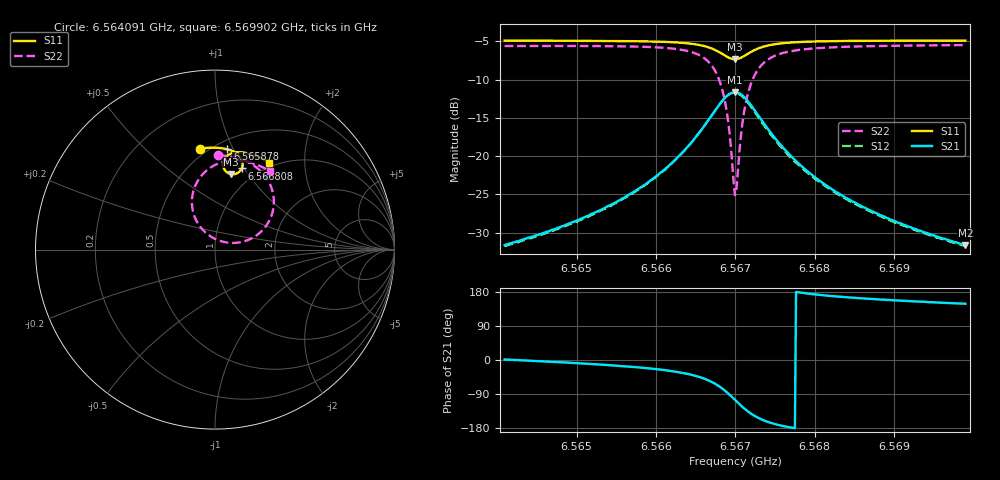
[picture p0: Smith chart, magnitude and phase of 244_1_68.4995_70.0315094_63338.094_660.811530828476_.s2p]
#  HZ  S  RI  R  50.00
! Rohde & Schwarz Vector Network Analyzer
! Rohde-Schwarz,ZNB20-2Port,1311601062101988,3.16
! Created: UTC 3/20/2024, 4:59:33 PM
! freq[Hz]  re:S11  im:S11  re:S21  im:S21  re:S12  im:S12  re:S22  im:S22
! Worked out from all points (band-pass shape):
!   401 points, 6.564091 GHz to 6.569902 GHz, reference 50 ohm
!   highest |S21| = -11.63 dB at 6.566996 GHz (marker M1); lowest = -31.7 dB at 6.569902 GHz (marker M2)
!   |S21| within 3 dB of the highest: 6.566706 GHz to 6.567286 GHz (580.1 kHz wide, 0.00883 % of centre)
!   lowest |S11| = -7.3 dB at 6.566996 GHz (marker M3), VSWR 2.51, Z = 40.4 + j41.7 ohm
!   |S11| at or under -10 dB: nowhere
!   |S22| runs from -25.1 to -5.5 dB; largest |S21 - S12| = 0.012
!   S11 on the Smith chart (normalised r, x): 6.564091 GHz: 0.45, +0.76; 6.565878 GHz: 0.58, +0.95; 6.566808 GHz: 0.83, +0.97; 6.569902 GHz: 0.94, +1.34
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6.5640907e9  -0.0829 0.563  0.0261 0.00062  0.0257 0.000181  0.0156 0.5248
6.5650641e9  -0.00436 0.568  0.0387 -0.00605  0.0379 -0.00674  0.1048 0.5146
6.5658777e9  0.0689 0.5589  0.0616 -0.0239  0.0605 -0.0248  0.2023 0.4772
6.5660375e9  0.0851 0.5541  0.0692 -0.0322  0.0681 -0.0329  0.2271 0.4607
6.5663427e9  0.1187 0.5373  0.0881 -0.0602  0.0866 -0.0614  0.2826 0.405
6.5665606e9  0.1435 0.5117  0.1017 -0.1044  0.0995 -0.1063  0.3218 0.3196
6.5667059e9  0.1537 0.4813  0.0977 -0.1577  0.094 -0.1607  0.3227 0.2179
6.5668076e9  0.1487 0.452  0.0719 -0.2079  0.0654 -0.2107  0.2781 0.1235
6.5668948e9  0.1284 0.4285  0.0203 -0.2466  0.0106 -0.2473  0.1843 0.0534
6.5669238e9  0.118 0.423  -0.00354 -0.2542  -0.0137 -0.2535  0.1416 0.041
6.5669819e9  0.0938 0.4199  -0.056 -0.2558  -0.0667 -0.2513  0.0483 0.0429
6.5669965e9  0.0877 0.4209  -0.0692 -0.2529  -0.0796 -0.2474  0.0254 0.0494
6.5670255e9  0.0759 0.4249  -0.0945 -0.2431  -0.104 -0.2358  -0.0176 0.0691
6.5670836e9  0.0572 0.4398  -0.1354 -0.2113  -0.1421 -0.2018  -0.0843 0.1297
6.5671272e9  0.0486 0.4543  -0.1551 -0.1818  -0.1594 -0.1716  -0.1138 0.1838
6.5671853e9  0.0448 0.4744  -0.1677 -0.1423  -0.169 -0.1323  -0.1285 0.2543
6.567258e9  0.0488 0.4961  -0.1675 -0.0999  -0.1664 -0.0915  -0.12 0.3279
6.5675195e9  0.0878 0.5347  -0.1257 -0.0217  -0.1229 -0.0182  -0.0246 0.4572
6.5679699e9  0.1464 0.5424  -0.0747 0.00798  -0.073 0.00917  0.0955 0.4967
6.5683767e9  0.1865 0.5353  -0.0525 0.013  -0.0513 0.0136  0.1607 0.4933
6.5689433e9  0.2338 0.5193  -0.036 0.0142  -0.0353 0.0145  0.2247 0.4766
6.5699023e9  0.3031 0.484  -0.0222 0.0136  -0.0217 0.0138  0.3048 0.4371
